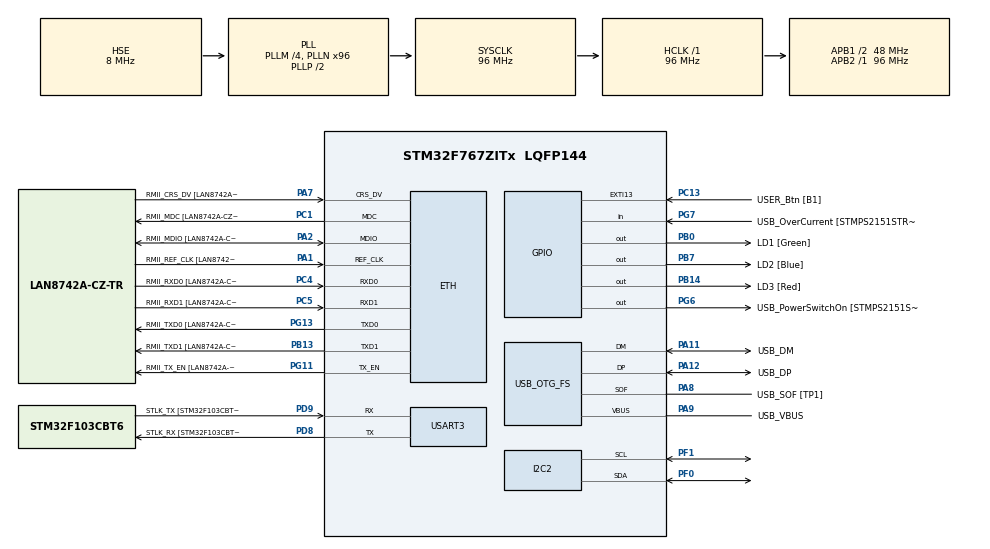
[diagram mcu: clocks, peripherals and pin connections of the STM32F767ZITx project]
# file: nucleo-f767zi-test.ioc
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ETH.MediaInterface=HAL_ETH_RMII_MODE
ETH.PHY_Name=LAN8742A_PHY_ADDRESS
ETH.PHY_Value=0
ETH.PhyAddress=0
I2C2.Timing=0x20303E5D
Mcu.Family=STM32F7
Mcu.Name=STM32F767ZITx
Mcu.Package=LQFP144
NVIC.PriorityGroup=NVIC_PRIORITYGROUP_4
PA1.GPIO_Label=RMII_REF_CLK [LAN8742A-CZ-TR_REFCLK0]
PA1.Mode=RMII
PA1.Signal=ETH_REF_CLK
PA10.GPIO_Label=USB_ID
PA10.Signal=USB_OTG_FS_ID
PA11.GPIO_Label=USB_DM
PA11.Mode=Device_Only
PA11.Signal=USB_OTG_FS_DM
PA12.GPIO_Label=USB_DP
PA12.Mode=Device_Only
PA12.Signal=USB_OTG_FS_DP
PA13.GPIO_Label=TMS
PA13.Mode=Serial_Wire
PA13.Signal=SYS_JTMS-SWDIO
PA14.GPIO_Label=TCK
PA14.Mode=Serial_Wire
PA14.Signal=SYS_JTCK-SWCLK
PA2.GPIO_Label=RMII_MDIO [LAN8742A-CZ-TR_MDIO]
PA2.Mode=RMII
PA2.Signal=ETH_MDIO
PA7.GPIO_Label=RMII_CRS_DV [LAN8742A-CZ-TR_CRS_DV]
PA7.Mode=RMII
PA7.Signal=ETH_CRS_DV
PA8.GPIO_Label=USB_SOF [TP1]
PA8.Mode=Activate_SOF_FS
PA8.Signal=USB_OTG_FS_SOF
PA9.GPIO_Label=USB_VBUS
PA9.Mode=Activate_VBUS
PA9.Signal=USB_OTG_FS_VBUS
PB0.GPIO_Label=LD1 [Green]
PB0.Signal=GPIO_Output
PB13.GPIO_Label=RMII_TXD1 [LAN8742A-CZ-TR_TXD1]
PB13.Mode=RMII
PB13.Signal=ETH_TXD1
PB14.GPIO_Label=LD3 [Red]
PB14.Signal=GPIO_Output
PB3.GPIO_Label=SWO
PB3.Signal=SYS_JTDO-SWO
PB7.GPIO_Label=LD2 [Blue]
PB7.Signal=GPIO_Output
PC1.GPIO_Label=RMII_MDC [LAN8742A-CZ-TR_MDC]
PC1.Mode=RMII
PC1.Signal=ETH_MDC
PC13.GPIO_Label=USER_Btn [B1]
PC13.Signal=GPXTI13
PC14/OSC32_IN.Mode=LSE-External-Oscillator
PC14/OSC32_IN.Signal=RCC_OSC32_IN
PC15/OSC32_OUT.Mode=LSE-External-Oscillator
PC15/OSC32_OUT.Signal=RCC_OSC32_OUT
PC4.GPIO_Label=RMII_RXD0 [LAN8742A-CZ-TR_RXD0]
PC4.Mode=RMII
PC4.Signal=ETH_RXD0
PC5.GPIO_Label=RMII_RXD1 [LAN8742A-CZ-TR_RXD1]
PC5.Mode=RMII
PC5.Signal=ETH_RXD1
PD8.GPIO_Label=STLK_RX [STM32F103CBT6_PA3]
PD8.Mode=Asynchronous
PD8.Signal=USART3_TX
PD9.GPIO_Label=STLK_TX [STM32F103CBT6_PA2]
PD9.Mode=Asynchronous
PD9.Signal=USART3_RX
PF0.Mode=I2C
PF0.Signal=I2C2_SDA
PF1.Mode=I2C
PF1.Signal=I2C2_SCL
PG11.GPIO_Label=RMII_TX_EN [LAN8742A-CZ-TR_TXEN]
PG11.Mode=RMII
PG11.Signal=ETH_TX_EN
PG13.GPIO_Label=RMII_TXD0 [LAN8742A-CZ-TR_TXD0]
PG13.Mode=RMII
PG13.Signal=ETH_TXD0
PG6.GPIO_Label=USB_PowerSwitchOn [STMPS2151STR_EN]
PG6.Signal=GPIO_Output
PG7.GPIO_Label=USB_OverCurrent [STMPS2151STR_FAULT]
PG7.Signal=GPIO_Input
PH0/OSC_IN.GPIO_Label=MCO [STM32F103CBT6_PA8]
PH0/OSC_IN.Mode=HSE-External-Clock-Source
PH0/OSC_IN.Signal=RCC_OSC_IN
PH1/OSC_OUT.Mode=HSE-External-Clock-Source
PH1/OSC_OUT.Signal=RCC_OSC_OUT
ProjectManager.HeapSize=0x200
ProjectManager.StackSize=0x400
ProjectManager.TargetToolchain=STM32CubeIDE
RCC.48MHZClocksFreq_Value=24000000
RCC.AHBFreq_Value=96000000
RCC.APB1CLKDivider=RCC_HCLK_DIV2
RCC.APB1Freq_Value=48000000
RCC.APB1TimFreq_Value=96000000
RCC.APB2Freq_Value=96000000
RCC.APB2TimFreq_Value=96000000
RCC.CortexFreq_Value=96000000
RCC.HCLKFreq_Value=96000000
RCC.HSE_VALUE=8000000
RCC.HSI_VALUE=16000000
RCC.PLLM=4
RCC.PLLMUL=RCC_PLL_MUL9
RCC.PLLN=96
RCC.PLLQ=4
RCC.PRESCALERUSB=RCC_USBCLKSOURCE_PLL_DIV1_5
RCC.SYSCLKFreq_VALUE=96000000
RCC.SYSCLKSource=RCC_SYSCLKSOURCE_PLLCLK
RCC.SYSCLKSourceVirtual=RCC_SYSCLKSOURCE_PLLCLK
RCC.USBFreq_Value=48000000
RCC.VCOOutputFreq_Value=192000000
USART3.VirtualMode-Asynchronous=VM_ASYNC
USB_OTG_FS.VirtualMode=Device_Only
board=NUCLEO-F767ZI

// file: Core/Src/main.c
/* USER CODE BEGIN Header */
/**
  ******************************************************************************
  * @file           : main.c
  * @brief          : Main program body
  ******************************************************************************
  * @attention
  *
  * Copyright (c) 2024 STMicroelectronics.
  * All rights reserved.
  *
  * This software is licensed under terms that can be found in the LICENSE file
  * in the root directory of this software component.
  * If no LICENSE file comes with this software, it is provided AS-IS.
  *
  ******************************************************************************
  */
/* USER CODE END Header */
#include "main.h"
#include "string.h"

/* USER CODE BEGIN Includes */
#include "stdio.h"
/* USER CODE END Includes */

#if defined ( __ICCARM__ ) /*!< IAR Compiler */
#pragma location=0x2007c000
ETH_DMADescTypeDef  DMARxDscrTab[ETH_RX_DESC_CNT]; /* Ethernet Rx DMA Descriptors */
#pragma location=0x2007c0a0
ETH_DMADescTypeDef  DMATxDscrTab[ETH_TX_DESC_CNT]; /* Ethernet Tx DMA Descriptors */

#elif defined ( __CC_ARM )  /* MDK ARM Compiler */

__attribute__((at(0x2007c000))) ETH_DMADescTypeDef  DMARxDscrTab[ETH_RX_DESC_CNT]; /* Ethernet Rx DMA Descriptors */
__attribute__((at(0x2007c0a0))) ETH_DMADescTypeDef  DMATxDscrTab[ETH_TX_DESC_CNT]; /* Ethernet Tx DMA Descriptors */

#elif defined ( __GNUC__ ) /* GNU Compiler */
ETH_DMADescTypeDef DMARxDscrTab[ETH_RX_DESC_CNT] __attribute__((section(".RxDecripSection"))); /* Ethernet Rx DMA Descriptors */
ETH_DMADescTypeDef DMATxDscrTab[ETH_TX_DESC_CNT] __attribute__((section(".TxDecripSection")));   /* Ethernet Tx DMA Descriptors */

#endif

ETH_TxPacketConfig TxConfig;

ETH_HandleTypeDef heth;

I2C_HandleTypeDef hi2c2;

UART_HandleTypeDef huart3;

PCD_HandleTypeDef hpcd_USB_OTG_FS;

void SystemClock_Config(void);
static void MX_GPIO_Init(void);
static void MX_ETH_Init(void);
static void MX_USART3_UART_Init(void);
static void MX_USB_OTG_FS_PCD_Init(void);
static void MX_I2C2_Init(void);
/* USER CODE BEGIN PFP */
#ifdef __GNUC__
#define PUTCHAR_PROTOTYPE int __io_putchar(int ch)
#else
#define PUTCHAR_PROTOTYPE int fputc(int ch, FILE *f)
#endif

PUTCHAR_PROTOTYPE
{
  HAL_UART_Transmit(&huart3, (uint8_t *)&ch, 1, HAL_MAX_DELAY);
  return ch;
}
/* USER CODE END PFP */

int main(void)
{
  /* USER CODE BEGIN 1 */
//	int count = 0;
  /* USER CODE END 1 */

  /* MCU Configuration--------------------------------------------------------*/

  /* Reset of all peripherals, Initializes the Flash interface and the Systick. */
  HAL_Init();

  /* Configure the system clock */
  SystemClock_Config();

  /* Initialize all configured peripherals */
  MX_GPIO_Init();
  MX_ETH_Init();
  MX_USART3_UART_Init();
  MX_USB_OTG_FS_PCD_Init();
  MX_I2C2_Init();
  /* USER CODE BEGIN 2 */
  uint8_t lcdAddress = 0x40;
  HAL_StatusTypeDef hal;
  printf("Starting I2C Scanner\r\n");
  while((hal != HAL_OK) || (lcdAddress != 0x50)) {
	  printf("test\r\n");
	  hal = HAL_I2C_Master_Transmit(&hi2c2, lcdAddress << 1, 0, 1, HAL_MAX_DELAY);
	  printf("test2\r\n");
	  lcdAddress += 2;
  }

  if ((hal != HAL_OK) || (lcdAddress == 0x50)) {
	  printf("Shit is not sheishty\r\n");
  } else {
	  printf("LCD Address: %X\r\n", lcdAddress);
  }

  printf("Scanner Ended\r\n");
  /* USER CODE END 2 */

  /* Infinite loop */
  /* USER CODE BEGIN WHILE */
  while (1)
  {
//	  printf("Test Count: %d\r\n", count);
//	  count++;
//	  // HAL_Delay(500);
    /* USER CODE END WHILE */

  }
}

void SystemClock_Config(void)
{
  RCC_OscInitTypeDef RCC_OscInitStruct = {0};
  RCC_ClkInitTypeDef RCC_ClkInitStruct = {0};

  /** Configure LSE Drive Capability
  */
  HAL_PWR_EnableBkUpAccess();

  /** Configure the main internal regulator output voltage
  */
  __HAL_RCC_PWR_CLK_ENABLE();
  __HAL_PWR_VOLTAGESCALING_CONFIG(PWR_REGULATOR_VOLTAGE_SCALE3);

  /** Initializes the RCC Oscillators according to the specified parameters
  * in the RCC_OscInitTypeDef structure.
  */
  RCC_OscInitStruct.OscillatorType = RCC_OSCILLATORTYPE_HSE;
  RCC_OscInitStruct.HSEState = RCC_HSE_BYPASS;
  RCC_OscInitStruct.PLL.PLLState = RCC_PLL_ON;
  RCC_OscInitStruct.PLL.PLLSource = RCC_PLLSOURCE_HSE;
  RCC_OscInitStruct.PLL.PLLM = 4;
  RCC_OscInitStruct.PLL.PLLN = 96;
  RCC_OscInitStruct.PLL.PLLP = RCC_PLLP_DIV2;
  RCC_OscInitStruct.PLL.PLLQ = 4;
  RCC_OscInitStruct.PLL.PLLR = 2;
  if (HAL_RCC_OscConfig(&RCC_OscInitStruct) != HAL_OK)
  {
    Error_Handler();
  }

  /** Activate the Over-Drive mode
  */
  if (HAL_PWREx_EnableOverDrive() != HAL_OK)
  {
    Error_Handler();
  }

  /** Initializes the CPU, AHB and APB buses clocks
  */
  RCC_ClkInitStruct.ClockType = RCC_CLOCKTYPE_HCLK|RCC_CLOCKTYPE_SYSCLK
                              |RCC_CLOCKTYPE_PCLK1|RCC_CLOCKTYPE_PCLK2;
  RCC_ClkInitStruct.SYSCLKSource = RCC_SYSCLKSOURCE_PLLCLK;
  RCC_ClkInitStruct.AHBCLKDivider = RCC_SYSCLK_DIV1;
  RCC_ClkInitStruct.APB1CLKDivider = RCC_HCLK_DIV2;
  RCC_ClkInitStruct.APB2CLKDivider = RCC_HCLK_DIV1;

  if (HAL_RCC_ClockConfig(&RCC_ClkInitStruct, FLASH_LATENCY_3) != HAL_OK)
  {
    Error_Handler();
  }
}

static void MX_ETH_Init(void)
{

   static uint8_t MACAddr[6];

  heth.Instance = ETH;
  MACAddr[0] = 0x00;
  MACAddr[1] = 0x80;
  MACAddr[2] = 0xE1;
  MACAddr[3] = 0x00;
  MACAddr[4] = 0x00;
  MACAddr[5] = 0x00;
  heth.Init.MACAddr = &MACAddr[0];
  heth.Init.MediaInterface = HAL_ETH_RMII_MODE;
  heth.Init.TxDesc = DMATxDscrTab;
  heth.Init.RxDesc = DMARxDscrTab;
  heth.Init.RxBuffLen = 1524;

  if (HAL_ETH_Init(&heth) != HAL_OK)
  {
    Error_Handler();
  }

  memset(&TxConfig, 0 , sizeof(ETH_TxPacketConfig));
  TxConfig.Attributes = ETH_TX_PACKETS_FEATURES_CSUM | ETH_TX_PACKETS_FEATURES_CRCPAD;
  TxConfig.ChecksumCtrl = ETH_CHECKSUM_IPHDR_PAYLOAD_INSERT_PHDR_CALC;
  TxConfig.CRCPadCtrl = ETH_CRC_PAD_INSERT;

}

static void MX_I2C2_Init(void)
{

  hi2c2.Instance = I2C2;
  hi2c2.Init.Timing = 0x20303E5D;
  hi2c2.Init.OwnAddress1 = 0;
  hi2c2.Init.AddressingMode = I2C_ADDRESSINGMODE_7BIT;
  hi2c2.Init.DualAddressMode = I2C_DUALADDRESS_DISABLE;
  hi2c2.Init.OwnAddress2 = 0;
  hi2c2.Init.OwnAddress2Masks = I2C_OA2_NOMASK;
  hi2c2.Init.GeneralCallMode = I2C_GENERALCALL_DISABLE;
  hi2c2.Init.NoStretchMode = I2C_NOSTRETCH_DISABLE;
  if (HAL_I2C_Init(&hi2c2) != HAL_OK)
  {
    Error_Handler();
  }

  /** Configure Analogue filter
  */
  if (HAL_I2CEx_ConfigAnalogFilter(&hi2c2, I2C_ANALOGFILTER_ENABLE) != HAL_OK)
  {
    Error_Handler();
  }

  /** Configure Digital filter
  */
  if (HAL_I2CEx_ConfigDigitalFilter(&hi2c2, 0) != HAL_OK)
  {
    Error_Handler();
  }

}

static void MX_USART3_UART_Init(void)
{

  huart3.Instance = USART3;
  huart3.Init.BaudRate = 115200;
  huart3.Init.WordLength = UART_WORDLENGTH_8B;
  huart3.Init.StopBits = UART_STOPBITS_1;
  huart3.Init.Parity = UART_PARITY_NONE;
  huart3.Init.Mode = UART_MODE_TX_RX;
  huart3.Init.HwFlowCtl = UART_HWCONTROL_NONE;
  huart3.Init.OverSampling = UART_OVERSAMPLING_16;
  huart3.Init.OneBitSampling = UART_ONE_BIT_SAMPLE_DISABLE;
  huart3.AdvancedInit.AdvFeatureInit = UART_ADVFEATURE_NO_INIT;
  if (HAL_UART_Init(&huart3) != HAL_OK)
  {
    Error_Handler();
  }

}

static void MX_USB_OTG_FS_PCD_Init(void)
{

  hpcd_USB_OTG_FS.Instance = USB_OTG_FS;
  hpcd_USB_OTG_FS.Init.dev_endpoints = 6;
  hpcd_USB_OTG_FS.Init.speed = PCD_SPEED_FULL;
  hpcd_USB_OTG_FS.Init.dma_enable = DISABLE;
  hpcd_USB_OTG_FS.Init.phy_itface = PCD_PHY_EMBEDDED;
  hpcd_USB_OTG_FS.Init.Sof_enable = ENABLE;
  hpcd_USB_OTG_FS.Init.low_power_enable = DISABLE;
  hpcd_USB_OTG_FS.Init.lpm_enable = DISABLE;
  hpcd_USB_OTG_FS.Init.vbus_sensing_enable = ENABLE;
  hpcd_USB_OTG_FS.Init.use_dedicated_ep1 = DISABLE;
  if (HAL_PCD_Init(&hpcd_USB_OTG_FS) != HAL_OK)
  {
    Error_Handler();
  }

}

static void MX_GPIO_Init(void)
{
  GPIO_InitTypeDef GPIO_InitStruct = {0};

  /* GPIO Ports Clock Enable */
  __HAL_RCC_GPIOC_CLK_ENABLE();
  __HAL_RCC_GPIOF_CLK_ENABLE();
  __HAL_RCC_GPIOH_CLK_ENABLE();
  __HAL_RCC_GPIOA_CLK_ENABLE();
  __HAL_RCC_GPIOB_CLK_ENABLE();
  __HAL_RCC_GPIOD_CLK_ENABLE();
  __HAL_RCC_GPIOG_CLK_ENABLE();

  /*Configure GPIO pin Output Level */
  HAL_GPIO_WritePin(GPIOB, LD1_Pin|LD3_Pin|LD2_Pin, GPIO_PIN_RESET);

  /*Configure GPIO pin Output Level */
  HAL_GPIO_WritePin(USB_PowerSwitchOn_GPIO_Port, USB_PowerSwitchOn_Pin, GPIO_PIN_RESET);

  /*Configure GPIO pin : USER_Btn_Pin */
  GPIO_InitStruct.Pin = USER_Btn_Pin;
  GPIO_InitStruct.Mode = GPIO_MODE_IT_RISING;
  GPIO_InitStruct.Pull = GPIO_NOPULL;
  HAL_GPIO_Init(USER_Btn_GPIO_Port, &GPIO_InitStruct);

  /*Configure GPIO pins : LD1_Pin LD3_Pin LD2_Pin */
  GPIO_InitStruct.Pin = LD1_Pin|LD3_Pin|LD2_Pin;
  GPIO_InitStruct.Mode = GPIO_MODE_OUTPUT_PP;
  GPIO_InitStruct.Pull = GPIO_NOPULL;
  GPIO_InitStruct.Speed = GPIO_SPEED_FREQ_LOW;
  HAL_GPIO_Init(GPIOB, &GPIO_InitStruct);

  /*Configure GPIO pin : USB_PowerSwitchOn_Pin */
  GPIO_InitStruct.Pin = USB_PowerSwitchOn_Pin;
  GPIO_InitStruct.Mode = GPIO_MODE_OUTPUT_PP;
  GPIO_InitStruct.Pull = GPIO_NOPULL;
  GPIO_InitStruct.Speed = GPIO_SPEED_FREQ_LOW;
  HAL_GPIO_Init(USB_PowerSwitchOn_GPIO_Port, &GPIO_InitStruct);

  /*Configure GPIO pin : USB_OverCurrent_Pin */
  GPIO_InitStruct.Pin = USB_OverCurrent_Pin;
  GPIO_InitStruct.Mode = GPIO_MODE_INPUT;
  GPIO_InitStruct.Pull = GPIO_NOPULL;
  HAL_GPIO_Init(USB_OverCurrent_GPIO_Port, &GPIO_InitStruct);

}

void Error_Handler(void)
{
  __disable_irq();
  while (1)
  {
  }
}
